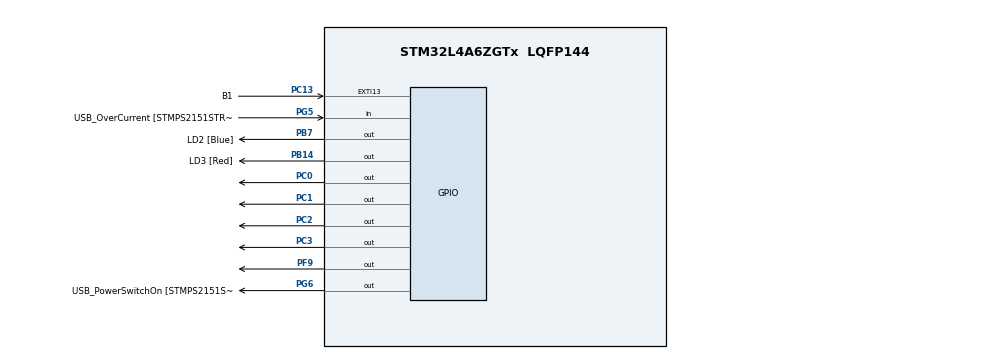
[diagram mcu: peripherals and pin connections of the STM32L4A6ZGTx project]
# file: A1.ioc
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Mcu.Family=STM32L4
Mcu.Name=STM32L4A6ZGTx
Mcu.Package=LQFP144
NVIC.PriorityGroup=NVIC_PRIORITYGROUP_4
PA10.GPIO_Label=USB_ID
PA10.Signal=USB_OTG_FS_ID
PA11.GPIO_Label=USB_DM
PA11.Signal=USB_OTG_FS_DM
PA12.GPIO_Label=USB_DP
PA12.Signal=USB_OTG_FS_DP
PA13\ (JTMS/SWDIO).GPIO_Label=TMS
PA13\ (JTMS/SWDIO).Mode=Trace_Asynchronous_SW
PA13\ (JTMS/SWDIO).Signal=SYS_JTMS-SWDIO
PA14\ (JTCK/SWCLK).GPIO_Label=TCK
PA14\ (JTCK/SWCLK).Mode=Trace_Asynchronous_SW
PA14\ (JTCK/SWCLK).Signal=SYS_JTCK-SWCLK
PA8.GPIO_Label=USB_SOF [TP1]
PA8.Signal=USB_OTG_FS_SOF
PA9.GPIO_Label=USB_VBUS
PA9.Signal=USB_OTG_FS_VBUS
PB14.GPIO_Label=LD3 [Red]
PB14.Signal=GPIO_Output
PB3\ (JTDO/TRACESWO).GPIO_Label=SWO
PB3\ (JTDO/TRACESWO).Mode=Trace_Asynchronous_SW
PB3\ (JTDO/TRACESWO).Signal=SYS_JTDO-SWO
PB7.GPIO_Label=LD2 [Blue]
PB7.Signal=GPIO_Output
PC0.Signal=GPIO_Output
PC1.Signal=GPIO_Output
PC13.GPIO_Label=B1
PC13.Signal=GPXTI13
PC14-OSC32_IN\ (PC14).Signal=RCC_OSC32_IN
PC15-OSC32_OUT\ (PC15).Signal=RCC_OSC32_OUT
PC2.Signal=GPIO_Output
PC3.Signal=GPIO_Output
PF9.Signal=GPIO_Output
PG5.GPIO_Label=USB_OverCurrent [STMPS2151STR_FAULT]
PG5.Signal=GPIO_Input
PG6.GPIO_Label=USB_PowerSwitchOn [STMPS2151STR_EN]
PG6.Signal=GPIO_Output
PG7.GPIO_Label=STLK_RX [STM32F103CBT6_PA3]
PG7.Signal=LPUART1_TX
PG8.GPIO_Label=STLK_TX [STM32F103CBT6_PA2]
PG8.Signal=LPUART1_RX
PH1-OSC_OUT\ (PH1).Signal=RCC_OSC_OUT
ProjectManager.HeapSize=0x200
ProjectManager.StackSize=0x400
ProjectManager.TargetToolchain=STM32CubeIDE
RCC.APB1CLKDivider=RCC_HCLK_DIV2
RCC.APB1Freq_Value=2000000
RCC.APB1TimFreq_Value=4000000
RCC.HSE_VALUE=8000000
RCC.HSI48_VALUE=48000000
RCC.HSI_VALUE=16000000
RCC.LSE_VALUE=32768
RCC.MSI_VALUE=4000000
RCC.VCOOutputFreq_Value=32000000
board=NUCLEO-L4A6ZG

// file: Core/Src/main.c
/* USER CODE BEGIN Header */
/**
  ******************************************************************************
  * @file           : main.c
  * @brief          : Main program body
  ******************************************************************************
  * @attention
  *
  * Copyright (c) 2024 STMicroelectronics.
  * All rights reserved.
  *
  * This software is licensed under terms that can be found in the LICENSE file
  * in the root directory of this software component.
  * If no LICENSE file comes with this software, it is provided AS-IS.
  *
  ******************************************************************************
  */
/* USER CODE END Header */
#include "main.h"

/* USER CODE BEGIN Includes */
#include "stdio.h"
#include "math.h"
/* USER CODE END Includes */

void SystemClock_Config(void);
static void MX_GPIO_Init(void);
/* USER CODE BEGIN PFP */
int32_t TestFunction(int32_t num);
/* USER CODE END PFP */

int main(void){

	/* MCU Configuration--------------------------------------------------------*/

	/* Reset of all peripherals, Initializes the Flash interface and the Systick. */
	HAL_Init();

	/* Configure the system clock */
	SystemClock_Config();

	/* Initialize all configured peripherals */
	//MX_GPIO_Init();
	/* USER CODE BEGIN 2 */

	// Count to 15
	uint8_t count = 0;

	// Count to 3
	uint8_t countOfCount = 0;

	int32_t main_var;

	// configure GPIO pins PC0, PC1, PC2, PC3 for:
	// output mode, push-pull, no pull up or pull down, high speed
	RCC->AHB2ENR   |=  (RCC_AHB2ENR_GPIOCEN);
	GPIOC->MODER   &= ~(GPIO_MODER_MODE0 | GPIO_MODER_MODE1 | GPIO_MODER_MODE2 | GPIO_MODER_MODE3 );
	GPIOC->MODER   |=  (GPIO_MODER_MODE0_0 | GPIO_MODER_MODE1_0 | GPIO_MODER_MODE2_0 | GPIO_MODER_MODE3_0);
	GPIOC->OTYPER  &= ~(GPIO_OTYPER_OT0 | GPIO_OTYPER_OT1 | GPIO_OTYPER_OT2 | GPIO_OTYPER_OT3);
	GPIOC->PUPDR   &= ~(GPIO_PUPDR_PUPD0 | GPIO_PUPDR_PUPD1 | GPIO_PUPDR_PUPD2 | GPIO_PUPDR_PUPD3);
	GPIOC->OSPEEDR |=  ((3 << GPIO_OSPEEDR_OSPEED0_Pos) |
						(3 << GPIO_OSPEEDR_OSPEED1_Pos) |
						(3 << GPIO_OSPEEDR_OSPEED2_Pos) |
						(3 << GPIO_OSPEEDR_OSPEED3_Pos));
	 // preset PC0, PC1, PC2, PC3 to 0
	GPIOC->BRR = (GPIO_PIN_0 | GPIO_PIN_1 | GPIO_PIN_2 | GPIO_PIN_3 );

	/* USER CODE END 2 */

	/* Infinite loop */
	/* USER CODE BEGIN WHILE */
	while (1){

		//Write the state of each bit to the corresponding GPIO
		GPIOC->ODR = (count);

		// arbitrary delay
		for (int i = 0; i < 50000; i++);

		if (countOfCount < 3){
			//If count is equal to 15
			if (count == 15){
			  // Set count to 0
			  count = 0;
			  // Increment count of the counter
			  countOfCount++;
			}
			//Otherwise
			else{
			//Increment count
			  count++;
			}
		}
		else{
			// time the test function call using PC0
			  GPIOC->BSRR = (GPIO_PIN_0);             // turn on PC0
			  main_var = TestFunction(15);            // call test function
			  GPIOC->BRR = (GPIO_PIN_0);              // turn off PC0
		}
		/* USER CODE END WHILE */

	}
}

void SystemClock_Config(void)
{
  RCC_OscInitTypeDef RCC_OscInitStruct = {0};
  RCC_ClkInitTypeDef RCC_ClkInitStruct = {0};

  /** Configure the main internal regulator output voltage
  */
  if (HAL_PWREx_ControlVoltageScaling(PWR_REGULATOR_VOLTAGE_SCALE1) != HAL_OK)
  {
    Error_Handler();
  }

  /** Initializes the RCC Oscillators according to the specified parameters
  * in the RCC_OscInitTypeDef structure.
  */
  RCC_OscInitStruct.OscillatorType = RCC_OSCILLATORTYPE_MSI;
  RCC_OscInitStruct.MSIState = RCC_MSI_ON;
  RCC_OscInitStruct.MSICalibrationValue = 0;
  RCC_OscInitStruct.MSIClockRange = RCC_MSIRANGE_6;
  RCC_OscInitStruct.PLL.PLLState = RCC_PLL_NONE;
  if (HAL_RCC_OscConfig(&RCC_OscInitStruct) != HAL_OK)
  {
    Error_Handler();
  }

  /** Initializes the CPU, AHB and APB buses clocks
  */
  RCC_ClkInitStruct.ClockType = RCC_CLOCKTYPE_HCLK|RCC_CLOCKTYPE_SYSCLK
                              |RCC_CLOCKTYPE_PCLK1|RCC_CLOCKTYPE_PCLK2;
  RCC_ClkInitStruct.SYSCLKSource = RCC_SYSCLKSOURCE_MSI;
  RCC_ClkInitStruct.AHBCLKDivider = RCC_SYSCLK_DIV1;
  RCC_ClkInitStruct.APB1CLKDivider = RCC_HCLK_DIV2;
  RCC_ClkInitStruct.APB2CLKDivider = RCC_HCLK_DIV1;

  if (HAL_RCC_ClockConfig(&RCC_ClkInitStruct, FLASH_LATENCY_0) != HAL_OK)
  {
    Error_Handler();
  }
}

static void MX_GPIO_Init(void)
{
  GPIO_InitTypeDef GPIO_InitStruct = {0};

  /* GPIO Ports Clock Enable */
  __HAL_RCC_GPIOC_CLK_ENABLE();
  __HAL_RCC_GPIOF_CLK_ENABLE();
  __HAL_RCC_GPIOH_CLK_ENABLE();
  __HAL_RCC_GPIOB_CLK_ENABLE();
  __HAL_RCC_GPIOG_CLK_ENABLE();
  HAL_PWREx_EnableVddIO2();
  __HAL_RCC_GPIOA_CLK_ENABLE();

  /*Configure GPIO pin Output Level */
  HAL_GPIO_WritePin(GPIOF, GPIO_PIN_9, GPIO_PIN_RESET);

  /*Configure GPIO pin Output Level */
  HAL_GPIO_WritePin(GPIOC, GPIO_PIN_0|GPIO_PIN_1|GPIO_PIN_2|GPIO_PIN_3, GPIO_PIN_RESET);

  /*Configure GPIO pin Output Level */
  HAL_GPIO_WritePin(GPIOB, LD3_Pin|LD2_Pin, GPIO_PIN_RESET);

  /*Configure GPIO pin Output Level */
  HAL_GPIO_WritePin(USB_PowerSwitchOn_GPIO_Port, USB_PowerSwitchOn_Pin, GPIO_PIN_RESET);

  /*Configure GPIO pin : B1_Pin */
  GPIO_InitStruct.Pin = B1_Pin;
  GPIO_InitStruct.Mode = GPIO_MODE_IT_RISING;
  GPIO_InitStruct.Pull = GPIO_NOPULL;
  HAL_GPIO_Init(B1_GPIO_Port, &GPIO_InitStruct);

  /*Configure GPIO pin : PF9 */
  GPIO_InitStruct.Pin = GPIO_PIN_9;
  GPIO_InitStruct.Mode = GPIO_MODE_OUTPUT_PP;
  GPIO_InitStruct.Pull = GPIO_NOPULL;
  GPIO_InitStruct.Speed = GPIO_SPEED_FREQ_LOW;
  HAL_GPIO_Init(GPIOF, &GPIO_InitStruct);

  /*Configure GPIO pins : PC0 PC1 PC2 PC3 */
  GPIO_InitStruct.Pin = GPIO_PIN_0|GPIO_PIN_1|GPIO_PIN_2|GPIO_PIN_3;
  GPIO_InitStruct.Mode = GPIO_MODE_OUTPUT_PP;
  GPIO_InitStruct.Pull = GPIO_NOPULL;
  GPIO_InitStruct.Speed = GPIO_SPEED_FREQ_LOW;
  HAL_GPIO_Init(GPIOC, &GPIO_InitStruct);

  /*Configure GPIO pins : LD3_Pin LD2_Pin */
  GPIO_InitStruct.Pin = LD3_Pin|LD2_Pin;
  GPIO_InitStruct.Mode = GPIO_MODE_OUTPUT_PP;
  GPIO_InitStruct.Pull = GPIO_NOPULL;
  GPIO_InitStruct.Speed = GPIO_SPEED_FREQ_LOW;
  HAL_GPIO_Init(GPIOB, &GPIO_InitStruct);

  /*Configure GPIO pin : USB_OverCurrent_Pin */
  GPIO_InitStruct.Pin = USB_OverCurrent_Pin;
  GPIO_InitStruct.Mode = GPIO_MODE_INPUT;
  GPIO_InitStruct.Pull = GPIO_NOPULL;
  HAL_GPIO_Init(USB_OverCurrent_GPIO_Port, &GPIO_InitStruct);

  /*Configure GPIO pin : USB_PowerSwitchOn_Pin */
  GPIO_InitStruct.Pin = USB_PowerSwitchOn_Pin;
  GPIO_InitStruct.Mode = GPIO_MODE_OUTPUT_PP;
  GPIO_InitStruct.Pull = GPIO_NOPULL;
  GPIO_InitStruct.Speed = GPIO_SPEED_FREQ_LOW;
  HAL_GPIO_Init(USB_PowerSwitchOn_GPIO_Port, &GPIO_InitStruct);

  /*Configure GPIO pins : STLK_RX_Pin STLK_TX_Pin */
  GPIO_InitStruct.Pin = STLK_RX_Pin|STLK_TX_Pin;
  GPIO_InitStruct.Mode = GPIO_MODE_AF_PP;
  GPIO_InitStruct.Pull = GPIO_NOPULL;
  GPIO_InitStruct.Speed = GPIO_SPEED_FREQ_VERY_HIGH;
  GPIO_InitStruct.Alternate = GPIO_AF8_LPUART1;
  HAL_GPIO_Init(GPIOG, &GPIO_InitStruct);

  /*Configure GPIO pins : USB_SOF_Pin USB_ID_Pin USB_DM_Pin USB_DP_Pin */
  GPIO_InitStruct.Pin = USB_SOF_Pin|USB_ID_Pin|USB_DM_Pin|USB_DP_Pin;
  GPIO_InitStruct.Mode = GPIO_MODE_AF_PP;
  GPIO_InitStruct.Pull = GPIO_NOPULL;
  GPIO_InitStruct.Speed = GPIO_SPEED_FREQ_VERY_HIGH;
  GPIO_InitStruct.Alternate = GPIO_AF10_OTG_FS;
  HAL_GPIO_Init(GPIOA, &GPIO_InitStruct);

}

/* USER CODE BEGIN 4 */

int32_t TestFunction(int32_t num) {

	int32_t test_var;  				// local variable

	GPIOC->BSRR = (GPIO_PIN_1);             // turn on PC1
	/* USER insert test function here e.g. test_var = num; */
	test_var = num + 1;

	GPIOC->BRR = (GPIO_PIN_1);              // turn off PC1

	return test_var;
}

int __io_putchar(int ch) {
    ITM_SendChar(ch);
    return ch;
}

/* USER CODE END 4 */

void Error_Handler(void)
{
  __disable_irq();
  while (1)
  {
  }
}
